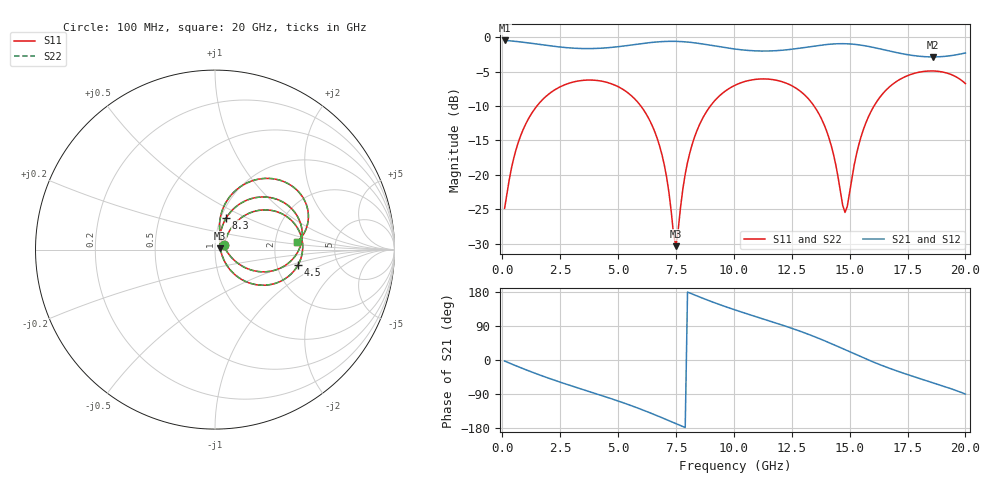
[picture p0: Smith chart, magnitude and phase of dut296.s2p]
! Touchstone file exported from HFSS 2026.1.0
!  File:  C:/ffzhzh/LocalFiles/Ansys_Project_Files/temp_train_TSV_RDL_296_1783088145_37948.aedt
!  Generated:  10:29:49 PM Jul  3, 2026
!  Design:  TSV_RDL
!  Project:  temp_train_TSV_RDL_296_1783088145_37948
! Variables:
!  h_bsmrdl = 2.01um
!  h_ox = 20um
!  h_rdl = 5um
!  h_sub = 69.32um
!  h_tmrdl = 3.35um
!  h_tsv = 69.32um
!  h_via = 3um
!  l_bsmrdl = 939.96um
!  l_sub = 7221.2um
!  l_tmrdl = 970.24um
!  m_sub = 200um
!  pitch = 43.05um
!  r_tsv = 14.63um
!  s_tmrdl = 10um
!  w_bsmrdl = 28.68um
!  w_sub = 500um
!  w_tmrdl = 11.44um
!  x_tsv_center1 = 975.96um
!  x_tsv_center2 = 1944.6um
!  x_tsv_center3 = 2926.28um
!  x_tsv_center4 = 3894.92um
!  x_tsv_center5 = 4876.6um
!  x_tsv_center6 = 5845.24um
# GHz S MA R 50.000000
! Terminal data exported
! Port[1] = TM_RDL1_1_T1
! Port[2] = TM_RDL5_1_T1
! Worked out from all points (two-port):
!   200 points, 100 MHz to 20 GHz, reference 50 ohm
!   highest |S21| = -0.46 dB at 100 MHz (marker M1); lowest = -2.9 dB at 18.6 GHz (marker M2)
!   |S21| within 3 dB of the highest: start of sweep to end of sweep
!   lowest |S11| = -30.4 dB at 7.5 GHz (marker M3), VSWR 1.06, Z = 53 + j0.844 ohm
!   |S11| at or under -10 dB: start of sweep to 1.493 GHz; 5.985 GHz to 8.985 GHz (3 GHz wide, 40.1 % of centre); 13.47 GHz to 16.05 GHz (2.588 GHz wide, 17.5 % of centre)
!   |S22| runs from -30.2 to -4.9 dB; largest |S21 - S12| = 1.7e-14
!   S11 on the Smith chart (normalised r, x): 100 MHz: 1.11, +0.05; 4.5 GHz: 2.64, -0.57; 8.3 GHz: 1.06, +0.39; 20 GHz: 2.67, +0.30
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0.1  0.05714 24.1  0.9487 -2.7  0.9487 -2.7  0.05714 24.1
! Gamma 0 0 0 0
! Port Impedance 50 0 50 0
0.6  0.1539 52.9  0.9332 -15.6  0.9332 -15.6  0.1539 52.9
1.2  0.2681 47.7  0.9071 -30.0  0.9071 -30.0  0.2681 47.7
2.3  0.4185 29.0  0.857 -54.3  0.857 -54.3  0.4184 29.0
3.5  0.4868 7.7  0.8284 -78.3  0.8284 -78.3  0.4868 7.8
4.5  0.4713 -10.2  0.8384 -97.9  0.8384 -97.9  0.4713 -10.2
5.9  0.3298 -37.0  0.8941 -127.9  0.8941 -127.9  0.3297 -37.0
6.8  0.1608 -52.5  0.9286 -149.8  0.9286 -149.8  0.1609 -52.3
7.1  0.09548 -52.3  0.9341 -157.5  0.9341 -157.5  0.0956 -51.9
7.5  0.03031 15.2  0.9346 -167.9  0.9346 -167.9  0.0309 15.2
7.9  0.1012 72.1  0.9268 -178.2  0.9268 -178.2  0.1015 71.8
8.3  0.1876 70.5  0.9119 171.7  0.9119 171.7  0.1878 70.3
9  0.3189 58.2  0.8754 154.9  0.8754 154.9  0.319 58.2
10.1  0.4521 37.4  0.8195 131.2  0.8195 131.2  0.4522 37.3
11.8  0.4889 7.3  0.799 97.9  0.799 97.9  0.4889 7.2
13.4  0.3278 -21.7  0.8601 63.6  0.8601 63.6  0.3278 -21.8
14.2  0.1647 -31.2  0.8924 43.4  0.8924 43.4  0.1646 -31.4
14.8  0.05332 23.2  0.8982 27.2  0.8982 27.2  0.05292 23.1
15.6  0.2148 79.8  0.8713 5.6  0.8713 5.6  0.2147 79.9
16.7  0.433 61.9  0.7962 -21.4  0.7962 -21.4  0.433 62.0
18.6  0.5693 28.9  0.7202 -60.0  0.7202 -60.0  0.5693 29.0
20  0.4611 5.4  0.7693 -89.9  0.7693 -89.9  0.4612 5.5
